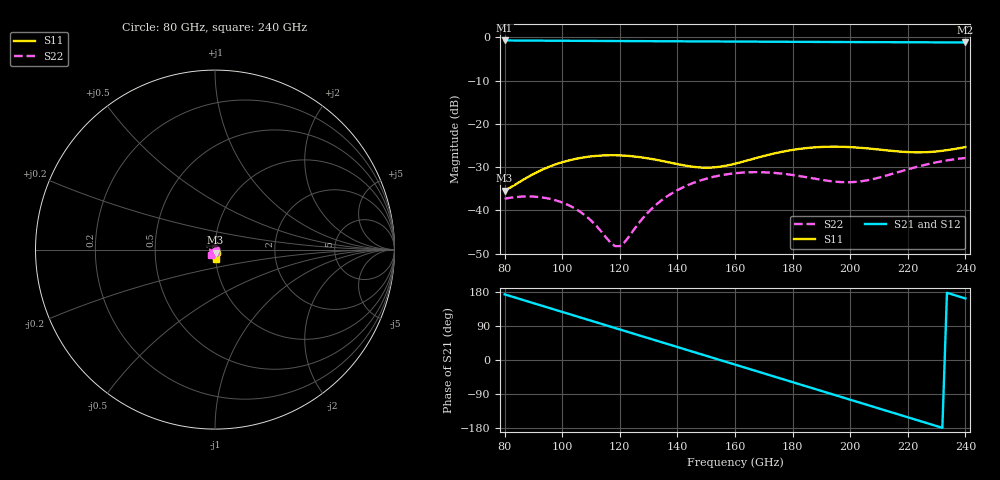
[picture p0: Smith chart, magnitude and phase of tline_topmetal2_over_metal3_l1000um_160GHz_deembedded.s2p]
! Created with skrf 2.0.1 (http://scikit-rf.org).
# GHz S DB R 50.0
!freq dBS11 angS11 dBS21 angS21 dBS12 angS12 dBS22 angS22
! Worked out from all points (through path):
!   101 points, 80 GHz to 240 GHz, reference 50 ohm
!   highest |S21| = -0.72 dB at 80 GHz (marker M1); lowest = -1.2 dB at 240 GHz (marker M2)
!   group delay of S21, straight-line fit = 6.44 ps
!   lowest |S11| = -35.4 dB at 80 GHz (marker M3), VSWR 1.03, Z = 50.3 - j1.67 ohm
!   |S11| at or under -10 dB: start of sweep to end of sweep
!   |S22| runs from -48.3 to -27.9 dB; largest |S21 - S12| = 1e-13
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80  -35.44 -79.8  -0.72 173.2  -0.72 173.2  -37.30 -92.7
86.4  -32.95 -69.6  -0.74 158.4  -0.74 158.4  -36.81 -103.6
92.8  -30.69 -69.8  -0.77 143.6  -0.77 143.6  -37.00 -118.5
100.8  -28.72 -76.3  -0.79 125.0  -0.79 125.0  -38.39 -141.4
107.2  -27.79 -83.3  -0.81 110.2  -0.81 110.2  -40.78 -164.6
116.8  -27.26 -94.1  -0.85 88.0  -0.85 88.0  -47.47 129.2
120  -27.30 -97.4  -0.86 80.6  -0.86 80.6  -48.28 84.6
126.4  -27.65 -102.9  -0.88 65.7  -0.88 65.7  -43.11 18.5
134.4  -28.54 -106.4  -0.90 47.2  -0.90 47.2  -37.73 -21.3
147.2  -30.05 -99.6  -0.94 17.6  -0.94 17.6  -33.26 -68.0
153.6  -30.01 -91.5  -0.96 2.7  -0.96 2.7  -32.09 -90.1
160  -29.22 -84.8  -0.97 -12.1  -0.97 -12.1  -31.42 -112.5
172.8  -26.97 -82.2  -1.01 -41.8  -1.01 -41.8  -31.30 -159.7
180.8  -25.94 -85.8  -1.04 -60.3  -1.04 -60.3  -31.90 167.2
187.2  -25.46 -89.8  -1.06 -75.1  -1.06 -75.1  -32.62 137.4
193.6  -25.28 -93.9  -1.07 -90.0  -1.07 -90.0  -33.28 103.8
200  -25.38 -97.3  -1.09 -104.8  -1.09 -104.8  -33.49 66.8
206.4  -25.70 -99.3  -1.10 -119.6  -1.10 -119.6  -32.99 29.0
214.4  -26.24 -98.8  -1.12 -138.1  -1.12 -138.1  -31.61 -14.5
227.2  -26.52 -91.4  -1.15 -167.8  -1.15 -167.8  -29.29 -73.5
233.6  -26.09 -87.2  -1.17 177.3  -1.17 177.3  -28.45 -100.0
240  -25.37 -84.7  -1.18 162.5  -1.18 162.5  -27.90 -125.6
